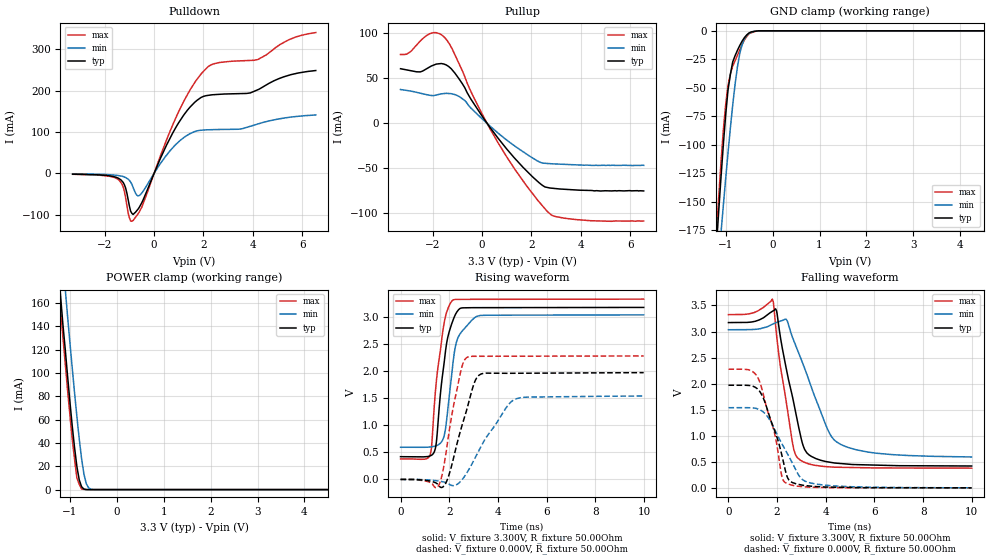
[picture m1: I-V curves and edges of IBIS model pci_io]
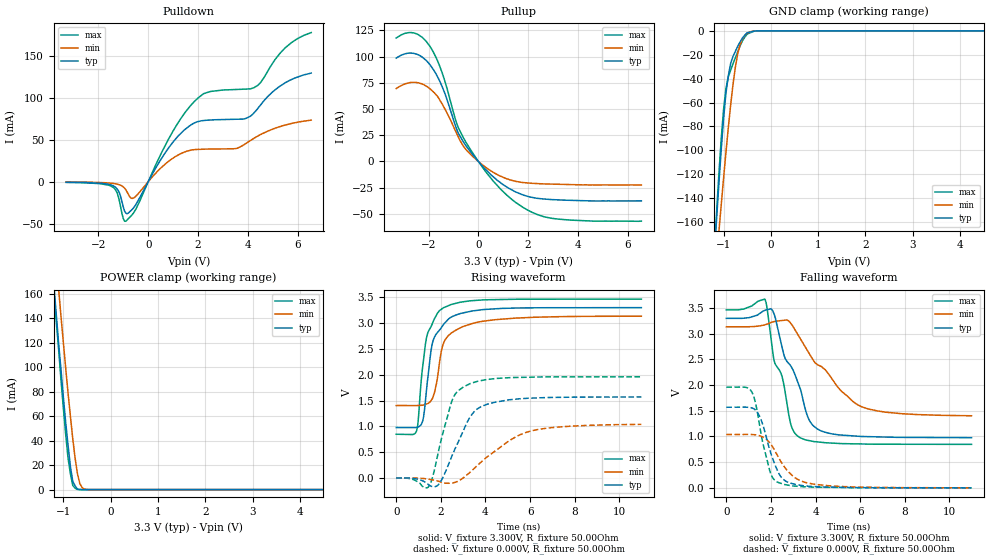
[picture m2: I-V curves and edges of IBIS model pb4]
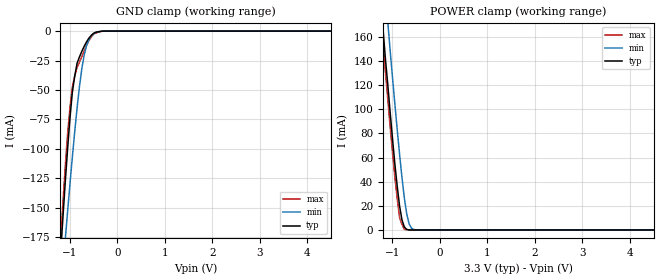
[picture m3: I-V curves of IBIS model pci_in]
[IBIS Ver]   3.2
[File name]   21555.ibs
[File rev]   0.3
[Date]   10/1/2001
[Source]   From silicon level SPICE model at Intel Corporation.
[Notes]   The following information corresponds to the ____ chip.
[Disclaimer]   This information is for modeling purposes only and is not
   guaranteed.
[Copyright]   Copyright 2000, Intel Corporation, All Rights Reserved.
[Component]   21555
[Manufacturer]  Intel Corporation
[Package]
|   typ   min   max
R_pkg   50.000mOhm   40.000mOhm   60.000mOhm
L_pkg   5.00nH   4.00nH   6.00nH
C_pkg   2.00pF   1.00pF   3.00pF
[Pin]   signal_name   model_name   R_pin   L_pin   C_pin
B1   vcc   power
B2   vss   gnd
D4   s_req_l[5]   pci_in
C1   s_req_l[6]   pci_in
C2   s_req_l[7]   pci_in
D3   s_req_l[8]   pci_in
E4   s_gnt_l[0]   pci_io
D1   s_gnt_l[1]   pci_io
D2   s_gnt_l[2]   pci_io
E3   s_gnt_l[3]   pci_io
E1   s_rst_in_l   pci_in
E2   s_gnt_l[4]   pci_io
F3   s_gnt_l[5]   pci_io
F1   s_gnt_l[6]   pci_io
F2   s_gnt_l[7]   pci_io
G1   s_gnt_l[8]   pci_io
G4   s_clk_o   pci_io
G2   vss   gnd
G3   s_clk   pci_clk
H1   s_rst_l   pci_io
H2   s_inta_l   pci_io
H3   TDI   piu
J1   TDO   pb4
J4   TMS   piu
J2   TCK   pid
J3   TRST_L   piu
K1   sr_cs   pb4
K2   pr_ad[7]   pb4
K3   pr_ad[6]   pb4
L4   pr_ad[5]   pb4
L1   pr_ad[4]   pb4
L2   pr_ad[3]   pb4
L3   pr_ad[2]   pb4
M3   pr_ad[1]   pb4
M1   pr_ad[0]   pb4
M2   pr_rd_l   pb4
N2   pr_ale_l   pb4
N3   pr_cs_l/pr_rdy   pb4
N1   pr_wr_l   pb4
N4   pr_clk   pb4
P3   scan_ena   pci_in
P2   p_inta_l   pci_io
P1   p_rst_l   pci_in
R3   vcc   power
R2   vss   gnd
R4   p_clk   pci_clk
R1   p_gnt_l   pci_in
T3   p_req_l   pci_io
T2   p_ad[31]   pci_io
T1   p_ad[30]   pci_io
U3   vss   gnd
U2   p_ad[29]   pci_io
U4   p_ad[28]   pci_io
U1   p_ad[27]   pci_io
V2   p_ad[26]   pci_io
V1   p_ad[25]   pci_io
V3   p_ad[24]   pci_io
W2   p_cbe_l[3]   pci_io
W1   p_idsel   pci_io
W3   p_ad[23]   pci_io
Y2   p_ad[22]   pci_io
Y1   p_ad[21]   pci_io
W4   p_ad[20]   pci_io
Y3   p_ad[19]   pci_io
AA2   vss   gnd
AA1   p_ad[18]   pci_io
AA3   p_ad[17]   pci_io
AB1   p_ad[16]   pci_io
AC1   vcc   power
AC2   vcc   power
AB2   vss   gnd
Y4   p_cbe_l[2]   pci_io
AC3   p_frame_l   pci_io
AB3   p_trdy_l   pci_io
AA4   vss   gnd
Y5   p_irdy_l   pci_io
AC4   p_devsel_l   pci_io
AB4   p_stop_l   pci_io
AA5   vcc   power
AC5   p_perr_l   pci_io
AB5   p_serr_l   pci_io
AA6   p_par   pci_io
AC6   p_cbe_l[1]   pci_io
AB6   p_ad[15]   pci_io
AC7   p_ad[14]   pci_io
Y7   p_ad[13]   pci_io
AB7   vss   gnd
AA7   p_ad[12]   pci_io
AC8   p_ad[11]   pci_io
AB8   vss   gnd
AA8   p_ad[10]   pci_io
AC9   p_m66ena   pci_in
Y9   p_ad[9]   pci_io
AB9   p_ad[8]   pci_io
AA9   p_cbe_l[0]   pci_io
AC10   p_ad[7]   pci_io
AB10   p_ad[6]   pci_io
AA10   p_ad[5]   pci_io
Y11   p_ad[4]   pci_io
AC11   p_ad[3]   pci_io
AB11   vcc   power
AA11   vss   gnd
AA12   vcc   power
AC12   p_ad[2]   pci_io
AB12   p_ad[1]   pci_io
AB13   p_ad[0]   pci_io
AA13   vss   gnd
AC13   p_ack64_l   pci_io
Y13   p_req64_l   pci_io
AA14   p_cbe_l[7]   pci_io
AB14   p_cbe_l[6]   pci_io
AC14   p_cbe_l[5]   pci_io
AA15   p_cbe_l[4]   pci_io
AB15   p_ad[63]   pci_io
Y15   p_ad[62]   pci_io
AC15   p_ad[61]   pci_io
AA16   vcc   power
AB16   p_ad[60]   pci_io
AC16   p_ad[59]   pci_io
AA17   p_ad[58]   pci_io
AB17   vss   gnd
Y17   p_ad[57]   pci_io
AC17   p_ad[56]   pci_io
AB18   p_ad[55]   pci_io
AC18   vcc   power
AA18   p_ad[54]   pci_io
AB19   p_ad[53]   pci_io
AC19   p_ad[52]   pci_io
AA19   vss   gnd
AB20   p_ad[51]   pci_io
AC20   p_ad[50]   pci_io
Y19   p_ad[49]   pci_io
AA20   vcc   power
AB21   p_ad[48]   pci_io
AC21   p_ad[47]   pci_io
AA21   p_ad[46]   pci_io
AC22   p_ad[45]   pci_io
AC23   p_ad[44]   pci_io
AB23   vcc   power
AB22   vss   gnd
Y20   p_ad[43]   pci_io
AA23   vcc   power
AA22   p_ad[42]   pci_io
Y21   p_ad[41]   pci_io
W20   p_ad[40]   pci_io
Y23   vss   gnd
Y22   p_ad[39]   pci_io
W21   p_ad[38]   pci_io
W23   p_ad[37]   pci_io
W22   p_ad[36]   pci_io
V21   p_ad[35]   pci_io
V23   p_ad[34]   pci_io
V22   p_ad[33]   pci_io
U23   p_ad[32]   pci_io
U20   p_par64   pci_io
U22   vcc   power
U21   pvio   pci_in
T23   p_pme_l   pci_in
T22   p_enum_l   pci_io
T21   svio   pci_in
R23   s_pme_l   pci_in
R20   l_stat   pci_io
R22   s_ad[32]   pci_io
R21   s_ad[33]   pci_io
P23   vss   gnd
P22   s_ad[34]   pci_io
P21   s_ad[35]   pci_io
N20   s_ad[36]   pci_io
N23   s_ad[37]   pci_io
N22   s_ad[38]   pci_io
N21   s_ad[39]   pci_io
M21   vcc   power
M23   vss   gnd
M22   s_ad[40]   pci_io
L22   s_ad[41]   pci_io
L21   s_ad[42]   pci_io
L23   s_ad[43]   pci_io
L20   s_ad[44]   pci_io
K21   s_ad[45]   pci_io
K22   vss   gnd
K23   s_ad[46]   pci_io
J21   s_ad[47]   pci_io
J22   s_ad[48]   pci_io
J20   vcc   power
J23   s_ad[49]   pci_io
H21   s_ad[50]   pci_io
H22   s_ad[51]   pci_io
H23   s_ad[52]   pci_io
G21   s_ad[53]   pci_io
G22   s_ad[54]   pci_io
G20   vcc   power
G23   s_ad[55]   pci_io
F22   s_ad[56]   pci_io
F23   s_ad[57]   pci_io
F21   vss   gnd
E22   s_ad[58]   pci_io
E23   s_ad[59]   pci_io
E21   s_ad[60]   pci_io
D22   s_ad[61]   pci_io
D23   s_ad[62]   pci_io
E20   s_ad[63]   pci_io
D21   vss   gnd
C22   s_par64   pci_io
C23   s_cbe_l[4]   pci_io
C21   s_cbe_l[5]   pci_io
B23   vcc   power
A23   s_cbe_l[6]   pci_io
A22   vcc   power
B22   vss   gnd
D20   s_cbe_l[7]   pci_io
A21   s_req64_l   pci_io
B21   vss   gnd
C20   s_ack64_l   pci_io
D19   s_ad[0]   pci_io
A20   s_ad[1]   pci_io
B20   vcc   power
C19   s_ad[2]   pci_io
A19   s_ad[3]   pci_io
B19   s_ad[4]   pci_io
C18   s_ad[5]   pci_io
A18   s_ad[6]   pci_io
B18   s_ad[7]   pci_io
A17   s_cbe_l[0]   pci_io
D17   s_ad[8]   pci_io
B17   s_ad[9]   pci_io
C17   vss   gnd
A16   s_m66ena   pci_in
B16   vcc   power
C16   vss   gnd
A15   s_ad[10]   pci_io
D15   s_ad[11]   pci_io
B15   s_ad[12]   pci_io
C15   vcc   power
A14   s_ad[13]   pci_io
B14   s_ad[14]   pci_io
C14   s_ad[15]   pci_io
D13   s_cbe_l[1]   pci_io
A13   s_par   pci_io
B13   s_serr_l   pci_io
C13   s_perr_l   pci_io
C12   s_stop_l   pci_io
A12   s_devsel_l   pci_io
B12   s_trdy_l   pci_io
B11   vss   gnd
C11   s_irdy_l   pci_io
A11   s_frame_l   pci_io
D11   s_cbe_l[2]   pci_io
C10   vcc   power
B10   vss   gnd
A10   s_ad[16]   pci_io
C9   s_ad[17]   pci_io
B9   s_ad[18]   pci_io
D9   s_ad[19]   pci_io
A9   s_ad[20]   pci_io
C8   s_ad[21]   pci_io
B8   vss   gnd
A8   s_ad[22]   pci_io
C7   s_ad[23]   pci_io
B7   s_idsel   pci_in
D7   vcc   power
A7   s_cbe_l[3]   pci_io
B6   s_ad[24]   pci_io
A6   s_ad[25]   pci_io
C6   vss   gnd
B5   s_ad[26]   pci_io
A5   s_ad[27]   pci_io
C5   s_ad[28]   pci_io
B4   vcc   power
A4   s_ad[29]   pci_io
D5   s_ad[30]   pci_io
C4   s_ad[31]   pci_io
B3   s_req[0]   pci_io
A3   s_req[1]   pci_io
C3   s_req[2]   pci_io
A2   s_req[3]   pci_io
A1   s_req[4]   pci_io
D8   vss   gnd
D12   vss   gnd
D16   vss   gnd
F4   vss   gnd
F20   vss   gnd
K4   vss   gnd
K20   vss   gnd
P4   vss   gnd
P20   vss   gnd
V4   vss   gnd
V20   vss   gnd
Y8   vss   gnd
Y12   vss   gnd
Y16   vss   gnd
D6   vcc   power
D10   vcc   power
D14   vcc   power
D18   vcc   power
H4   vcc   power
H20   vcc   power
M4   vcc   power
M20   vcc   power
T4   vcc   power
T20   vcc   power
Y6   vcc   power
Y10   vcc   power
Y14   vcc   power
Y18   vcc   power
| Models and submodels in the file (6): pci_io (I/O), pb4 (I/O), pci_in (Input), pci_clk (Input), pid (Input), piu (Input)
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[Model]   pci_io
Model_type   I/O
Vinl = 990.00mV
Vinh = 1.650V
Vmeas = 1.3200V
Cref = 10.000F
|   typ   min   max
C_comp   4.000pF   2.000pF   6.000pF
[Voltage Range]   3.300V   3.135V   3.465V
[Temperature Range]   25.0   100.0   0.0
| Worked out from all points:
|   slope of the pulldown table from 0 to 0.495 V, typ, clamps not added: 7.37 ohm
|   slope of the pullup table from 0 to 0.495 V, typ, clamps not added: 26.2 ohm
|   GND clamp passes 1 mA (typ) near -0.46 V on its own axis
|   POWER clamp passes 1 mA (typ) near -0.71 V on its own axis
|   falling waveform, V_fixture 3.300V, R_fixture 50.00Ohm: 20-80 % time 740ps typ, 1.2ns min, 571ps max; typ from 3.17 V to 0.419 V
|   rising waveform, V_fixture 3.300V, R_fixture 50.00Ohm: 20-80 % time 413ps typ, 417ps min, 407ps max; typ from 0.419 V to 3.17 V
|   rising waveform, V_fixture 0.000V, R_fixture 50.00Ohm: 20-80 % time 715ps typ, 1.25ns min, 536ps max; typ from 0 V to 1.97 V
|   falling waveform, V_fixture 0.000V, R_fixture 50.00Ohm: 20-80 % time 760ps typ, 1.03ns min, 691ps max; typ from 1.97 V to 0 V
[Pulldown]
|   Voltage   I(typ)   I(min)   I(max)
-3.3V     -1.91mA    -1.209mA   -2.17mA
-1.45V    -11.52mA   NA         -14.93mA
-1.2V     -27.77mA   NA         -44.27mA
-1V       -78.9mA    -16.99mA   -107.6mA
-900mV    -96.6mA    -26.55mA   -116mA
-600mV    -82.23mA   -53.66mA   -93.53mA
900mV     113.1mA    NA         137mA
2V        186.4mA    NA         NA
2.35V     190.2mA    NA         NA
3.9V      194.8mA    NA         NA
5.25V     233.7mA    NA         NA
6.55V     249mA      141.4mA    340.9mA
[GND Clamp]
|   Voltage   I(typ)   I(min)   I(max)
-3.3V     -1.674A    -1.356A    -1.789A
-1.2V     -191mA     -227.1mA   -180.5mA
-1.15V    -159.4mA   -202.1mA   -147.1mA
-1.1V     -128.9mA   -177.6mA   -115.6mA
-1.05V    -100.2mA   -153.5mA   -87.26mA
-950mV    -52.01mA   -107.2mA   -47.88mA
-850mV    -27.3mA    -65.27mA   -30.97mA
-750mV    -17.19mA   -31.9mA    -21.66mA
-700mV    -12.93mA   -20.15mA   -16.67mA
-600mV    -5.942mA   -7.203mA   -8.052mA
-450mV    -906uA     -1.117mA   -1.7mA
6.55V     0A         0A         0A
[Pullup]
|   Voltage   I(typ)   I(min)   I(max)
-3.3V     59.96mA    36.93mA    75.7mA
-2.5V     56.44mA    NA         NA
-2.05V    62.99mA    30.27mA    NA
-1.55V    65.2mA     NA         NA
-1.25V    60.03mA    32.35mA    NA
-700mV    39.1mA     24.85mA    51.41mA
0V        7.66mA     4.578mA    10.12mA
650mV     -16.93mA   -11.29mA   -22.04mA
2.05V     -59.78mA   NA         NA
2.75V     -72.14mA   NA         NA
3.95V     -74.56mA   NA         NA
6.55V     -75.4mA    -47.06mA   -108.7mA
[POWER Clamp]
|   Voltage   I(typ)   I(min)   I(max)
-3.3V     1.315A     1.34A      1.328A
-1.25V    192.8mA    244.5mA    178.6mA
-1.2V     167.3mA    220.4mA    155.6mA
-1.1V     121.2mA    173.1mA    109.1mA
-1.05V    98.12mA    149.4mA    86.03mA
-950mV    54.97mA    104.7mA    43.68mA
-850mV    19.85mA    62.7mA     10.07mA
-800mV    8.417mA    43.58mA    4.561mA
-750mV    2.519mA    26.64mA    513.5uA
-650mV    36.98uA    5.11mA     12.26uA
-500mV    365.5nA    94.16uA    9.304nA
6.55V     0A         0A         0A
[Ramp]
R_load = 50.00Ohm
|   typ   min   max
dV/dt_r   1.182V/713.567ps 922.932mV/1.247ns   1.366V/534.623ps
dV/dt_f   1.652V/740.381ps   1.465V/1.196ns   1.768V/571.446ps
[Falling Waveform]
V_fixture = 3.300V
V_fixture_min = 3.135V
V_fixture_max = 3.465V
R_fixture = 50.00Ohm
|   Time   V(typ)   V(min)   V(max)
0s        3.172V     3.034V     3.325V
1.7ns     3.357V     NA         NA
1.89ns    3.413V     NA         NA
1.98ns    3.389V     NA         NA
2.35ns    2.348V     NA         NA
2.65ns    1.707V     NA         NA
2.99ns    944.1mV    NA         NA
3.31ns    633.1mV    NA         NA
4.36ns    476.9mV    NA         NA
9.99ns    419.4mV    593mV      378.5mV
[Rising Waveform]
V_fixture = 3.300V
V_fixture_min = 3.135V
V_fixture_max = 3.465V
R_fixture = 50.00Ohm
|   Time   V(typ)   V(min)   V(max)
0s        419.4mV    593mV      378.5mV
1.19ns    428.8mV    NA         NA
1.27ns    444.6mV    NA         NA
1.45ns    613.2mV    NA         NA
1.79ns    2.143V     NA         NA
1.94ns    2.619V     NA         NA
2.19ns    2.975V     NA         NA
2.39ns    3.133V     NA         NA
2.96ns    3.167V     NA         NA
9.99ns    3.172V     3.034V     3.325V
[Rising Waveform]
V_fixture = 0.000V
V_fixture_min = 0.000V
V_fixture_max = 0.000V
R_fixture = 50.00Ohm
|   Time   V(typ)   V(min)   V(max)
0s        104.9uV    -23.21uV   -10.63uV
1.52ns    -84.65mV   NA         NA
1.73ns    -142.8mV   NA         NA
1.94ns    16.19mV    NA         NA
2.53ns    1.002V     NA         NA
2.77ns    1.367V     NA         NA
3.03ns    1.779V     NA         NA
3.22ns    1.921V     NA         NA
4.36ns    1.957V     NA         NA
9.99ns    1.969V     1.538V     2.277V
[Falling Waveform]
V_fixture = 0.000V
V_fixture_min = 0.000V
V_fixture_max = 0.000V
R_fixture = 50.00Ohm
|   Time   V(typ)   V(min)   V(max)
0s        1.969V     1.538V     2.277V
860ps     1.965V     NA         NA
1.19ns    1.901V     NA         NA
1.44ns    1.715V     NA         NA
1.93ns    1.057V     NA         NA
2.21ns    596.3mV    NA         NA
2.39ns    243.9mV    NA         NA
3.08ns    47.76mV    NA         NA
3.5ns     27.12mV    NA         NA
9.99ns    104.9uV    -23.21uV   -10.63uV
[Model]   pb4
Model_type   I/O
Vinl = 990mV
Vinh = 1.650V
Vmeas = 1.3200V
Cref = 10.000pF
|   typ   min   max
C_comp   4.000pF   2.000pF   6.000pF
[Voltage Range]   3.300V   3.135V   3.465V
[Temperature Range]   25.0   100.0   0.0
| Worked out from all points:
|   slope of the pulldown table from 0 to 0.495 V, typ, clamps not added: 19.2 ohm
|   slope of the pullup table from 0 to 0.495 V, typ, clamps not added: 39.8 ohm
|   GND clamp passes 1 mA (typ) near -0.44 V on its own axis
|   POWER clamp passes 1 mA (typ) near -0.71 V on its own axis
|   falling waveform, V_fixture 3.300V, R_fixture 50.00Ohm: 20-80 % time 1.16ns typ, 2.03ns min, 829ps max; typ from 3.3 V to 0.977 V
|   rising waveform, V_fixture 3.300V, R_fixture 50.00Ohm: 20-80 % time 582ps typ, 653ps min, 541ps max; typ from 0.977 V to 3.3 V
|   rising waveform, V_fixture 0.000V, R_fixture 50.00Ohm: 20-80 % time 1.05ns typ, 1.97ns min, 738ps max; typ from 0 V to 1.57 V
|   falling waveform, V_fixture 0.000V, R_fixture 50.00Ohm: 20-80 % time 700ps typ, 1.02ns min, 562ps max; typ from 1.57 V to 0 V
[Pulldown]
|   Voltage   I(typ)   I(min)   I(max)
-3.3V     -734.7uA   -443uA     -874.5uA
-1.4V     -4.979mA   NA         -6.942mA
-1.15V    -13.86mA   NA         -24.09mA
-900mV    -37.29mA   -9.671mA   -47.21mA
-600mV    -31.62mA   -19.65mA   -37.71mA
850mV     41.48mA    NA         NA
1.8V      69.07mA    NA         NA
2.35V     73.18mA    38.79mA    NA
3.85V     74.7mA     NA         NA
4.35V     85.21mA    NA         NA
5.55V     118.6mA    NA         NA
6.55V     129.3mA    73.27mA    177.6mA
[GND Clamp]
|   Voltage   I(typ)   I(min)   I(max)
-3.3V     -1.674A    -1.291A    -1.874A
-1.2V     -191mA     -216.3mA   -189.3mA
-1.15V    -159.4mA   -192.5mA   -154.1mA
-1.1V     -128.9mA   -169.1mA   -120.9mA
-1.05V    -100.1mA   -146.1mA   -90.93mA
-1V       -73.87mA   -123.7mA   -66.09mA
-950mV    -52.42mA   -102mA     -48.6mA
-850mV    -27.33mA   -62.21mA   -32.95mA
-700mV    -13mA      -19.19mA   -17.51mA
-600mV    -5.96mA    -6.862mA   -8.355mA
-500mV    -1.621mA   -2.161mA   -2.751mA
6.55V     0A         0A         0A
[Pullup]
|   Voltage   I(typ)   I(min)   I(max)
-3.3V     98.59mA    69.51mA    117.8mA
-2.6V     103.2mA    NA         122.7mA
-2.25V    99.52mA    NA         118.3mA
-1.95V    92.48mA    NA         110mA
-1.55V    76.52mA    NA         90.83mA
-850mV    29.49mA    25.61mA    35.05mA
-600mV    18.65mA    14.56mA    22.6mA
500mV     -12.55mA   NA         NA
1.5V      -29.12mA   -19mA      -39.11mA
2.35V     -35.14mA   NA         NA
2.95V     -36.37mA   NA         -54.25mA
6.55V     -37.63mA   -22.4mA    -56.9mA
[POWER Clamp]
|   Voltage   I(typ)   I(min)   I(max)
-3.3V     1.314A     1.276A     1.389A
-1.2V     167.8mA    209.9mA    162.1mA
-1.15V    144.1mA    187.1mA    138.1mA
-1.1V     120.2mA    164.7mA    115.3mA
-1.05V    98.67mA    142.3mA    90.18mA
-900mV    36.5mA     79.19mA    25.87mA
-850mV    19.06mA    60.23mA    13.06mA
-800mV    6.776mA    41.62mA    3.424mA
-700mV    343.5uA    12.87mA    111.7uA
-600mV    7.812uA    1.46mA     745.9nA
-500mV    163.4nA    94.55uA    15nA
6.55V     0A         0A         0A
[Ramp]
R_load = 50.00Ohm
|   typ   min   max
dV/dt_r   941.938mV/1.046ns   623.049mV/1.963ns   1.176V/735.152ps
dV/dt_f   1.393V/1.156ns   1.039V/2.029ns   1.571V/828.962ps
[Falling Waveform]
V_fixture = 3.300V
V_fixture_min = 3.135V
V_fixture_max = 3.465V
R_fixture = 50.00Ohm
|   Time   V(typ)   V(min)   V(max)
0s        3.3V       3.135V     3.465V
1.76ns    3.462V     NA         NA
2.16ns    3.361V     NA         NA
2.48ns    2.771V     NA         NA
2.93ns    2.345V     NA         NA
3.33ns    1.91V      NA         NA
3.66ns    1.371V     NA         NA
4.07ns    1.149V     NA         NA
6.06ns    1V         NA         NA
10.99ns   977.5mV    1.403V     847mV
[Rising Waveform]
V_fixture = 3.300V
V_fixture_min = 3.135V
V_fixture_max = 3.465V
R_fixture = 50.00Ohm
|   Time   V(typ)   V(min)   V(max)
0s        977.5mV    1.403V     847mV
860ps     976.4mV    NA         NA
940ps     981.5mV    NA         NA
1.14ns    1.049V     NA         NA
1.23ns    1.193V     NA         NA
1.35ns    1.671V     NA         NA
1.6ns     2.567V     NA         NA
2.13ns    2.982V     NA         NA
3.91ns    3.263V     NA         NA
10.99ns   3.3V       3.135V     3.465V
[Rising Waveform]
V_fixture = 0.000V
V_fixture_min = 0.000V
V_fixture_max = 0.000V
R_fixture = 50.00Ohm
|   Time   V(typ)   V(min)   V(max)
0s        19.59uV    -71.53nV   -2.497uV
1.48ns    -142.8mV   NA         NA
1.72ns    -171.4mV   NA         NA
1.92ns    -116.5mV   NA         NA
2.46ns    387mV      NA         NA
2.85ns    760.8mV    NA         NA
3.29ns    1.165V     NA         NA
4.07ns    1.427V     NA         NA
5.97ns    1.546V     NA         NA
10.99ns   1.57V      1.038V     1.96V
[Falling Waveform]
V_fixture = 0.000V
V_fixture_min = 0.000V
V_fixture_max = 0.000V
R_fixture = 50.00Ohm
|   Time   V(typ)   V(min)   V(max)
0s        1.57V      1.038V     1.96V
1.14ns    1.557V     NA         NA
1.35ns    1.494V     NA         NA
1.55ns    1.334V     NA         NA
1.93ns    762.5mV    NA         NA
2.31ns    318.9mV    NA         NA
2.65ns    133.8mV    NA         NA
3.12ns    64.22mV    NA         NA
3.83ns    26.99mV    NA         NA
10.99ns   19.59uV    -71.53nV   -2.497uV
[Model]   pci_in
Model_type   Input
Vinl = 990mV
Vinh = 1.650V
Cref = 10.000pF
|   typ   min   max
C_comp   4.000pF   2.000pF   6.000pF
[Voltage Range]   3.300V   3.135V   3.465V
[Temperature Range]   25.0   100.0   0.0
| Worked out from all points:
|   GND clamp passes 1 mA (typ) near -0.46 V on its own axis
|   POWER clamp passes 1 mA (typ) near -0.71 V on its own axis
[GND Clamp]
|   Voltage   I(typ)   I(min)   I(max)
-3.3V     -1.674A    -1.356A    -1.789A
-1.2V     -191mA     -227.1mA   -180.5mA
-1.15V    -159.4mA   -202.1mA   -147.1mA
-1.1V     -128.9mA   -177.6mA   -115.6mA
-1.05V    -100.2mA   -153.5mA   -87.26mA
-950mV    -52.01mA   -107.2mA   -47.88mA
-850mV    -27.3mA    -65.27mA   -30.97mA
-750mV    -17.19mA   -31.9mA    -21.66mA
-700mV    -12.93mA   -20.15mA   -16.67mA
-600mV    -5.942mA   -7.203mA   -8.052mA
-450mV    -906uA     -1.117mA   -1.7mA
6.55V     0A         0A         0A
[POWER Clamp]
|   Voltage   I(typ)   I(min)   I(max)
-3.3V     1.315A     1.34A      1.328A
-1.25V    192.8mA    244.5mA    178.6mA
-1.2V     167.3mA    220.4mA    155.6mA
-1.1V     121.2mA    173.1mA    109.1mA
-1.05V    98.12mA    149.4mA    86.03mA
-950mV    54.97mA    104.7mA    43.68mA
-850mV    19.85mA    62.7mA     10.07mA
-800mV    8.417mA    43.58mA    4.561mA
-750mV    2.519mA    26.64mA    513.5uA
-650mV    36.98uA    5.11mA     12.26uA
-500mV    365.5nA    94.16uA    9.304nA
6.55V     0A         0A         0A
